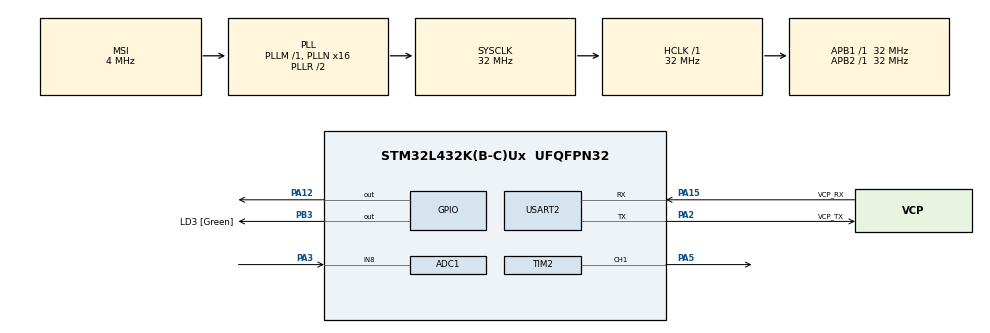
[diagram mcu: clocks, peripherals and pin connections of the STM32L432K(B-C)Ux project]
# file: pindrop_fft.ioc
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ADC1.Channel-0\#ChannelRegularConversion=ADC_CHANNEL_8
ADC1.ContinuousConvMode=DISABLE
ADC1.DMAContinuousRequests=ENABLE
ADC1.ExternalTrigConv=ADC_EXTERNALTRIG_T2_TRGO
ADC1.NbrOfConversionFlag=1
ADC1.OffsetNumber-0\#ChannelRegularConversion=ADC_OFFSET_NONE
ADC1.Rank-0\#ChannelRegularConversion=1
ADC1.SamplingTime-0\#ChannelRegularConversion=ADC_SAMPLETIME_2CYCLES_5
ADC1.master=1
Dma.ADC1.0.Direction=DMA_PERIPH_TO_MEMORY
Dma.ADC1.0.Instance=DMA1_Channel1
Dma.ADC1.0.MemDataAlignment=DMA_MDATAALIGN_HALFWORD
Dma.ADC1.0.MemInc=DMA_MINC_ENABLE
Dma.ADC1.0.Mode=DMA_CIRCULAR
Dma.ADC1.0.PeriphDataAlignment=DMA_PDATAALIGN_HALFWORD
Dma.ADC1.0.PeriphInc=DMA_PINC_DISABLE
Dma.ADC1.0.Priority=DMA_PRIORITY_LOW
Dma.Request0=ADC1
Dma.Request1=USART2_TX
Dma.USART2_TX.1.Direction=DMA_MEMORY_TO_PERIPH
Dma.USART2_TX.1.Instance=DMA1_Channel7
Dma.USART2_TX.1.MemDataAlignment=DMA_MDATAALIGN_BYTE
Dma.USART2_TX.1.MemInc=DMA_MINC_ENABLE
Dma.USART2_TX.1.Mode=DMA_NORMAL
Dma.USART2_TX.1.PeriphDataAlignment=DMA_PDATAALIGN_BYTE
Dma.USART2_TX.1.PeriphInc=DMA_PINC_DISABLE
Dma.USART2_TX.1.Priority=DMA_PRIORITY_LOW
Mcu.Family=STM32L4
Mcu.Name=STM32L432K(B-C)Ux
Mcu.Package=UFQFPN32
NVIC.DMA1_Channel1_IRQn=true\:0\:0\:false\:false\:true\:false\:true\:true
NVIC.DMA1_Channel7_IRQn=true\:0\:0\:false\:false\:true\:false\:true\:true
NVIC.PriorityGroup=NVIC_PRIORITYGROUP_4
PA0.GPIO_Label=MCO [High speed clock in]
PA0.Mode=HSE-External-Clock-Source-for-LittleOrca
PA0.Signal=RCC_CK_IN
PA12.Signal=GPIO_Output
PA13\ (JTMS-SWDIO).GPIO_Label=SWDIO
PA13\ (JTMS-SWDIO).Mode=Serial_Wire
PA13\ (JTMS-SWDIO).Signal=SYS_JTMS-SWDIO
PA14\ (JTCK-SWCLK).GPIO_Label=SWCLK
PA14\ (JTCK-SWCLK).Mode=Serial_Wire
PA14\ (JTCK-SWCLK).Signal=SYS_JTCK-SWCLK
PA15\ (JTDI).GPIO_Label=VCP_RX
PA15\ (JTDI).Mode=Asynchronous
PA15\ (JTDI).Signal=USART2_RX
PA2.GPIO_Label=VCP_TX
PA2.Mode=Asynchronous
PA2.Signal=USART2_TX
PA3.Signal=ADCx_IN8
PA5.Signal=S_TIM2_CH1
PB3\ (JTDO-TRACESWO).GPIO_Label=LD3 [Green]
PB3\ (JTDO-TRACESWO).Signal=GPIO_Output
PC14-OSC32_IN\ (PC14).Mode=LSE-External-Oscillator
PC14-OSC32_IN\ (PC14).Signal=RCC_OSC32_IN
PC15-OSC32_OUT\ (PC15).Mode=LSE-External-Oscillator
PC15-OSC32_OUT\ (PC15).Signal=RCC_OSC32_OUT
ProjectManager.HeapSize=0x200
ProjectManager.StackSize=0x400
ProjectManager.TargetToolchain=STM32CubeIDE
RCC.ADCFreq_Value=32000000
RCC.AHBFreq_Value=32000000
RCC.APB1Freq_Value=32000000
RCC.APB1TimFreq_Value=32000000
RCC.APB2Freq_Value=32000000
RCC.APB2TimFreq_Value=32000000
RCC.CortexFreq_Value=32000000
RCC.HCLKFreq_Value=32000000
RCC.HSE_VALUE=8000000
RCC.HSI16_VALUE=16000000
RCC.HSI48_VALUE=48000000
RCC.HSI_VALUE=16000000
RCC.MSI_VALUE=4000000
RCC.PLLMUL=RCC_PLLMUL_4
RCC.PLLN=16
RCC.PLLSAI1N=16
RCC.SYSCLKFreq_VALUE=32000000
RCC.SYSCLKSource=RCC_SYSCLKSOURCE_PLLCLK
RCC.USBFreq_Value=32000000
RCC.VCOOutputFreq_Value=64000000
SH.ADCx_IN8.0=ADC1_IN8,IN8-Single-Ended
SH.S_TIM2_CH1.0=TIM2_CH1,Output Compare1 CH1
TIM1.Prescaler=31
TIM2.AutoReloadPreload=TIM_AUTORELOAD_PRELOAD_ENABLE
TIM2.Channel-Output\ Compare1\ CH1=TIM_CHANNEL_1
TIM2.OCMode_1=TIM_OCMODE_TOGGLE
TIM2.Period=400-1
TIM2.Prescaler=0
TIM2.TIM_MasterOutputTrigger=TIM_TRGO_UPDATE
TIM2.TIM_MasterSlaveMode=TIM_MASTERSLAVEMODE_ENABLE
USART2.VirtualMode-Asynchronous=VM_ASYNC
VP_TIM1_VS_ClockSourceINT.Mode=Internal
VP_TIM2_VS_ClockSourceINT.Mode=Internal
board=NUCLEO-L432KC

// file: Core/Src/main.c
/* USER CODE BEGIN Header */
/**
  ******************************************************************************
  * @file           : main.c
  * @brief          : Main program body
  ******************************************************************************
  * @attention
  *
  * Copyright (c) 2025 STMicroelectronics.
  * All rights reserved.
  *
  * This software is licensed under terms that can be found in the LICENSE file
  * in the root directory of this software component.
  * If no LICENSE file comes with this software, it is provided AS-IS.
  *
  ******************************************************************************
  */
/* USER CODE END Header */
#include "main.h"

/* USER CODE BEGIN Includes */
#include "arm_math.h"
#include "arm_const_structs.h"
//#include <stdio.h>
/* USER CODE END Includes */

/* USER CODE BEGIN PD */
/* Defines */
#define FFT_SIZE 1024
#define SAMPLE_RATE 80000
#define AUDIO_BUFFER_SIZE (FFT_SIZE)
#define CHANGE_THRESHOLD 1.75// 1.7 for sensitivity, 2.4 for motors/noise (no ROC consideration)
//#define CHANGE_THRESHOLD 0.1
/* USER CODE END PD */

ADC_HandleTypeDef hadc1;
DMA_HandleTypeDef hdma_adc1;

TIM_HandleTypeDef htim1;
TIM_HandleTypeDef htim2;

UART_HandleTypeDef huart2;
DMA_HandleTypeDef hdma_usart2_tx;

/* USER CODE BEGIN PV */
volatile uint16_t adc_buffer[AUDIO_BUFFER_SIZE];
volatile uint8_t buffer_ready = 0;
uint32_t adc_index = 0;

float32_t fft_input[FFT_SIZE];
float32_t fft_output[FFT_SIZE];

float32_t fft_mag_A[FFT_SIZE/2];
float32_t fft_mag_B[FFT_SIZE/2];
float32_t* fft_mag = fft_mag_A;
float32_t* fft_mag_prev = fft_mag_B;

arm_rfft_fast_instance_f32 fft_instance;
/* USER CODE END PV */

void SystemClock_Config(void);
static void MX_GPIO_Init(void);
static void MX_DMA_Init(void);
static void MX_USART2_UART_Init(void);
static void MX_ADC1_Init(void);
static void MX_TIM2_Init(void);
static void MX_TIM1_Init(void);
/* USER CODE BEGIN PFP */
void HAL_ADC_ConvCpltCallback(ADC_HandleTypeDef* hadc);
void process_fft(void);
void transmit_fft_results(void);
/* USER CODE END PFP */

int main(void)
{

  /* MCU Configuration--------------------------------------------------------*/

  /* Reset of all peripherals, Initializes the Flash interface and the Systick. */
  HAL_Init();

  /* Configure the system clock */
  SystemClock_Config();

  /* Initialize all configured peripherals */
  MX_GPIO_Init();
  MX_DMA_Init();
  MX_USART2_UART_Init();
  MX_ADC1_Init();
  MX_TIM2_Init();
  MX_TIM1_Init();
  /* USER CODE BEGIN 2 */
  // Initialize FFT
  arm_rfft_fast_init_f32(&fft_instance, FFT_SIZE);

  // Start ADC with DMA
  HAL_ADC_Start_DMA(&hadc1, (uint32_t*)adc_buffer, AUDIO_BUFFER_SIZE);

  // Start timer for sampling rate and fft timer
  HAL_TIM_Base_Start(&htim1);
  HAL_TIM_Base_Start(&htim2);
  /* USER CODE END 2 */

  /* Infinite loop */
  /* USER CODE BEGIN WHILE */
  while (1)
  {
	  if (buffer_ready) {
	        process_fft();
	        //transmit_fft_results();
	        buffer_ready = 0;
	        adc_index = 0;
	    }
    /* USER CODE END WHILE */

  }
}

void SystemClock_Config(void)
{
  RCC_OscInitTypeDef RCC_OscInitStruct = {0};
  RCC_ClkInitTypeDef RCC_ClkInitStruct = {0};

  /** Configure the main internal regulator output voltage
  */
  if (HAL_PWREx_ControlVoltageScaling(PWR_REGULATOR_VOLTAGE_SCALE1) != HAL_OK)
  {
    Error_Handler();
  }

  /** Configure LSE Drive Capability
  */
  HAL_PWR_EnableBkUpAccess();
  __HAL_RCC_LSEDRIVE_CONFIG(RCC_LSEDRIVE_LOW);

  /** Initializes the RCC Oscillators according to the specified parameters
  * in the RCC_OscInitTypeDef structure.
  */
  RCC_OscInitStruct.OscillatorType = RCC_OSCILLATORTYPE_LSE|RCC_OSCILLATORTYPE_MSI;
  RCC_OscInitStruct.LSEState = RCC_LSE_ON;
  RCC_OscInitStruct.MSIState = RCC_MSI_ON;
  RCC_OscInitStruct.MSICalibrationValue = 0;
  RCC_OscInitStruct.MSIClockRange = RCC_MSIRANGE_6;
  RCC_OscInitStruct.PLL.PLLState = RCC_PLL_ON;
  RCC_OscInitStruct.PLL.PLLSource = RCC_PLLSOURCE_MSI;
  RCC_OscInitStruct.PLL.PLLM = 1;
  RCC_OscInitStruct.PLL.PLLN = 16;
  RCC_OscInitStruct.PLL.PLLP = RCC_PLLP_DIV7;
  RCC_OscInitStruct.PLL.PLLQ = RCC_PLLQ_DIV2;
  RCC_OscInitStruct.PLL.PLLR = RCC_PLLR_DIV2;
  if (HAL_RCC_OscConfig(&RCC_OscInitStruct) != HAL_OK)
  {
    Error_Handler();
  }

  /** Initializes the CPU, AHB and APB buses clocks
  */
  RCC_ClkInitStruct.ClockType = RCC_CLOCKTYPE_HCLK|RCC_CLOCKTYPE_SYSCLK
                              |RCC_CLOCKTYPE_PCLK1|RCC_CLOCKTYPE_PCLK2;
  RCC_ClkInitStruct.SYSCLKSource = RCC_SYSCLKSOURCE_PLLCLK;
  RCC_ClkInitStruct.AHBCLKDivider = RCC_SYSCLK_DIV1;
  RCC_ClkInitStruct.APB1CLKDivider = RCC_HCLK_DIV1;
  RCC_ClkInitStruct.APB2CLKDivider = RCC_HCLK_DIV1;

  if (HAL_RCC_ClockConfig(&RCC_ClkInitStruct, FLASH_LATENCY_1) != HAL_OK)
  {
    Error_Handler();
  }

  /** Enable MSI Auto calibration
  */
  HAL_RCCEx_EnableMSIPLLMode();
}

static void MX_ADC1_Init(void)
{

  ADC_ChannelConfTypeDef sConfig = {0};

  /** Common config
  */
  hadc1.Instance = ADC1;
  hadc1.Init.ClockPrescaler = ADC_CLOCK_ASYNC_DIV1;
  hadc1.Init.Resolution = ADC_RESOLUTION_12B;
  hadc1.Init.DataAlign = ADC_DATAALIGN_RIGHT;
  hadc1.Init.ScanConvMode = ADC_SCAN_DISABLE;
  hadc1.Init.EOCSelection = ADC_EOC_SINGLE_CONV;
  hadc1.Init.LowPowerAutoWait = DISABLE;
  hadc1.Init.ContinuousConvMode = DISABLE;
  hadc1.Init.NbrOfConversion = 1;
  hadc1.Init.DiscontinuousConvMode = DISABLE;
  hadc1.Init.ExternalTrigConv = ADC_EXTERNALTRIG_T2_TRGO;
  hadc1.Init.ExternalTrigConvEdge = ADC_EXTERNALTRIGCONVEDGE_RISING;
  hadc1.Init.DMAContinuousRequests = ENABLE;
  hadc1.Init.Overrun = ADC_OVR_DATA_PRESERVED;
  hadc1.Init.OversamplingMode = DISABLE;
  if (HAL_ADC_Init(&hadc1) != HAL_OK)
  {
    Error_Handler();
  }

  /** Configure Regular Channel
  */
  sConfig.Channel = ADC_CHANNEL_8;
  sConfig.Rank = ADC_REGULAR_RANK_1;
  sConfig.SamplingTime = ADC_SAMPLETIME_2CYCLES_5;
  sConfig.SingleDiff = ADC_SINGLE_ENDED;
  sConfig.OffsetNumber = ADC_OFFSET_NONE;
  sConfig.Offset = 0;
  if (HAL_ADC_ConfigChannel(&hadc1, &sConfig) != HAL_OK)
  {
    Error_Handler();
  }

}

static void MX_TIM1_Init(void)
{

  TIM_ClockConfigTypeDef sClockSourceConfig = {0};
  TIM_MasterConfigTypeDef sMasterConfig = {0};

  htim1.Instance = TIM1;
  htim1.Init.Prescaler = 31;
  htim1.Init.CounterMode = TIM_COUNTERMODE_UP;
  htim1.Init.Period = 65535;
  htim1.Init.ClockDivision = TIM_CLOCKDIVISION_DIV1;
  htim1.Init.RepetitionCounter = 0;
  htim1.Init.AutoReloadPreload = TIM_AUTORELOAD_PRELOAD_DISABLE;
  if (HAL_TIM_Base_Init(&htim1) != HAL_OK)
  {
    Error_Handler();
  }
  sClockSourceConfig.ClockSource = TIM_CLOCKSOURCE_INTERNAL;
  if (HAL_TIM_ConfigClockSource(&htim1, &sClockSourceConfig) != HAL_OK)
  {
    Error_Handler();
  }
  sMasterConfig.MasterOutputTrigger = TIM_TRGO_RESET;
  sMasterConfig.MasterOutputTrigger2 = TIM_TRGO2_RESET;
  sMasterConfig.MasterSlaveMode = TIM_MASTERSLAVEMODE_DISABLE;
  if (HAL_TIMEx_MasterConfigSynchronization(&htim1, &sMasterConfig) != HAL_OK)
  {
    Error_Handler();
  }

}

static void MX_TIM2_Init(void)
{

  TIM_ClockConfigTypeDef sClockSourceConfig = {0};
  TIM_MasterConfigTypeDef sMasterConfig = {0};
  TIM_OC_InitTypeDef sConfigOC = {0};

  htim2.Instance = TIM2;
  htim2.Init.Prescaler = 0;
  htim2.Init.CounterMode = TIM_COUNTERMODE_UP;
  htim2.Init.Period = 400-1;
  htim2.Init.ClockDivision = TIM_CLOCKDIVISION_DIV1;
  htim2.Init.AutoReloadPreload = TIM_AUTORELOAD_PRELOAD_ENABLE;
  if (HAL_TIM_Base_Init(&htim2) != HAL_OK)
  {
    Error_Handler();
  }
  sClockSourceConfig.ClockSource = TIM_CLOCKSOURCE_INTERNAL;
  if (HAL_TIM_ConfigClockSource(&htim2, &sClockSourceConfig) != HAL_OK)
  {
    Error_Handler();
  }
  if (HAL_TIM_OC_Init(&htim2) != HAL_OK)
  {
    Error_Handler();
  }
  sMasterConfig.MasterOutputTrigger = TIM_TRGO_UPDATE;
  sMasterConfig.MasterSlaveMode = TIM_MASTERSLAVEMODE_ENABLE;
  if (HAL_TIMEx_MasterConfigSynchronization(&htim2, &sMasterConfig) != HAL_OK)
  {
    Error_Handler();
  }
  sConfigOC.OCMode = TIM_OCMODE_TOGGLE;
  sConfigOC.Pulse = 0;
  sConfigOC.OCPolarity = TIM_OCPOLARITY_HIGH;
  sConfigOC.OCFastMode = TIM_OCFAST_DISABLE;
  if (HAL_TIM_OC_ConfigChannel(&htim2, &sConfigOC, TIM_CHANNEL_1) != HAL_OK)
  {
    Error_Handler();
  }
  HAL_TIM_MspPostInit(&htim2);

}

static void MX_USART2_UART_Init(void)
{

  huart2.Instance = USART2;
  huart2.Init.BaudRate = 115200;
  huart2.Init.WordLength = UART_WORDLENGTH_8B;
  huart2.Init.StopBits = UART_STOPBITS_1;
  huart2.Init.Parity = UART_PARITY_NONE;
  huart2.Init.Mode = UART_MODE_TX_RX;
  huart2.Init.HwFlowCtl = UART_HWCONTROL_NONE;
  huart2.Init.OverSampling = UART_OVERSAMPLING_16;
  huart2.Init.OneBitSampling = UART_ONE_BIT_SAMPLE_DISABLE;
  huart2.AdvancedInit.AdvFeatureInit = UART_ADVFEATURE_NO_INIT;
  if (HAL_UART_Init(&huart2) != HAL_OK)
  {
    Error_Handler();
  }

}

static void MX_DMA_Init(void)
{

  /* DMA controller clock enable */
  __HAL_RCC_DMA1_CLK_ENABLE();

  /* DMA interrupt init */
  /* DMA1_Channel1_IRQn interrupt configuration */
  HAL_NVIC_SetPriority(DMA1_Channel1_IRQn, 0, 0);
  HAL_NVIC_EnableIRQ(DMA1_Channel1_IRQn);
  /* DMA1_Channel7_IRQn interrupt configuration */
  HAL_NVIC_SetPriority(DMA1_Channel7_IRQn, 0, 0);
  HAL_NVIC_EnableIRQ(DMA1_Channel7_IRQn);

}

static void MX_GPIO_Init(void)
{
  GPIO_InitTypeDef GPIO_InitStruct = {0};

  /* GPIO Ports Clock Enable */
  __HAL_RCC_GPIOC_CLK_ENABLE();
  __HAL_RCC_GPIOA_CLK_ENABLE();
  __HAL_RCC_GPIOB_CLK_ENABLE();

  /*Configure GPIO pin Output Level */
  HAL_GPIO_WritePin(GPIOA, GPIO_PIN_12, GPIO_PIN_RESET);

  /*Configure GPIO pin Output Level */
  HAL_GPIO_WritePin(LD3_GPIO_Port, LD3_Pin, GPIO_PIN_RESET);

  /*Configure GPIO pin : PA12 */
  GPIO_InitStruct.Pin = GPIO_PIN_12;
  GPIO_InitStruct.Mode = GPIO_MODE_OUTPUT_PP;
  GPIO_InitStruct.Pull = GPIO_NOPULL;
  GPIO_InitStruct.Speed = GPIO_SPEED_FREQ_LOW;
  HAL_GPIO_Init(GPIOA, &GPIO_InitStruct);

  /*Configure GPIO pin : LD3_Pin */
  GPIO_InitStruct.Pin = LD3_Pin;
  GPIO_InitStruct.Mode = GPIO_MODE_OUTPUT_PP;
  GPIO_InitStruct.Pull = GPIO_NOPULL;
  GPIO_InitStruct.Speed = GPIO_SPEED_FREQ_LOW;
  HAL_GPIO_Init(LD3_GPIO_Port, &GPIO_InitStruct);

}

/* USER CODE BEGIN 4 */
/* ADC conversion complete callback */
void HAL_ADC_ConvCpltCallback(ADC_HandleTypeDef* hadc) {
  buffer_ready = 1;
}

// Code to swap output buffers
void swap_buffers() {
    float32_t* temp = fft_mag_prev;
    fft_mag_prev = fft_mag;
    fft_mag = temp;
}

/* Process FFT */
void process_fft(void) {
  // Convert ADC samples to float32 (-1 to 1)
  for (int i = 0; i < FFT_SIZE; i++) {
    fft_input[i] = (float32_t)(adc_buffer[i] - 2048) / 2048.0f;
  }
  // Calculate and remove mean
  float32_t mean;
  arm_mean_f32(fft_input, FFT_SIZE, &mean);
  arm_offset_f32(fft_input, -mean, fft_input, FFT_SIZE);

  // Get time since last fft
  uint32_t time = __HAL_TIM_GET_COUNTER(&htim1);
  __HAL_TIM_SET_COUNTER(&htim1, 0);
  // Perform FFT
  arm_rfft_fast_f32(&fft_instance, fft_input, fft_output, 0);

  // Swap pointers to magnitudes to find difference between current and previous fft
  swap_buffers();
  float32_t fft_mag_diffsqr_sum = 0;
  // Calculate magnitude and find difference from previous
  for (int i = 0; i < FFT_SIZE/2; i++) {
    fft_mag[i] = sqrtf(fft_output[2*i]*fft_output[2*i] +
                       fft_output[2*i+1]*fft_output[2*i+1]);
    fft_mag_diffsqr_sum += (fft_mag[i] - fft_mag_prev[i])*(fft_mag[i] - fft_mag_prev[i]);
  }

  float32_t fft_change = sqrtf(fft_mag_diffsqr_sum);

  if (fft_change > CHANGE_THRESHOLD) {
	  // Turn ON the LED
	  HAL_GPIO_WritePin(GPIOA, GPIO_PIN_12, GPIO_PIN_SET);
	  HAL_Delay(1000);
  }
//  if (time > 25000) {
//	  HAL_GPIO_WritePin(GPIOA, GPIO_PIN_12, GPIO_PIN_SET);
//	  HAL_Delay(1000);
//	  __HAL_TIM_SET_COUNTER(&htim1, 0);
//  }
  else {
	  HAL_GPIO_WritePin(GPIOA, GPIO_PIN_12, GPIO_PIN_RESET);
  }
}

/* Transmit FFT results via UART */
void transmit_fft_results(void) {
  char uart_buf[64];
  int len;

  // Send header
  len = sprintf(uart_buf, "FFT_DATA_START,%d\r\n", FFT_SIZE/2);
  HAL_UART_Transmit(&huart2, (uint8_t*)uart_buf, len, HAL_MAX_DELAY);

  // Send FFT magnitude points
  for (int i = 0; i < FFT_SIZE/2; i++) {
    len = sprintf(uart_buf, "%d,%.4f\r\n", i, fft_mag[i]);
    HAL_UART_Transmit(&huart2, (uint8_t*)uart_buf, len, HAL_MAX_DELAY);
  }

  // Send footer
  len = sprintf(uart_buf, "FFT_DATA_END\r\n");
  HAL_UART_Transmit(&huart2, (uint8_t*)uart_buf, len, HAL_MAX_DELAY);
}

/* Transmit FFT results via UART */
//void transmit_fft_results(void) {
//  #define UART_BUF_SIZE 128  // Increased buffer size
//  char uart_buf[UART_BUF_SIZE];
//  int len;
//  HAL_StatusTypeDef status;
//  const int fft_points = FFT_SIZE/2;
//
//  // Send header with fixed format
//  len = snprintf(uart_buf, UART_BUF_SIZE, "FFT_DATA_START,%d\r\n", fft_points);
//  status = HAL_UART_Transmit(&huart2, (uint8_t*)uart_buf, len, HAL_MAX_DELAY);
//  if (status != HAL_OK) {
//    // Handle error (you could add error recovery here)
//    return;
//  }
//
//  // Send FFT magnitude points with checks
//  int points_sent = 0;
//  for (int i = 0; i < fft_points; i++) {
//    len = snprintf(uart_buf, UART_BUF_SIZE, "%d,%.4f\r\n", i, fft_mag[i]);
//    if (len >= UART_BUF_SIZE) {
//      // Handle buffer overflow
//      len = snprintf(uart_buf, UART_BUF_SIZE, "%d,OVF\r\n", i);
//    }
//
//    status = HAL_UART_Transmit(&huart2, (uint8_t*)uart_buf, len, HAL_MAX_DELAY);
//    if (status != HAL_OK) {
//      // Handle error
//      break;
//    }
//    points_sent++;
//  }
//
//  // Verify all points were sent
//  if (points_sent != fft_points) {
//    len = snprintf(uart_buf, UART_BUF_SIZE, "FFT_ERROR,expected %d, sent %d\r\n",
//                  fft_points, points_sent);
//    HAL_UART_Transmit(&huart2, (uint8_t*)uart_buf, len, HAL_MAX_DELAY);
//  }
//
//  // Send footer
//  len = snprintf(uart_buf, UART_BUF_SIZE, "FFT_DATA_END,%d\r\n", points_sent);
//  HAL_UART_Transmit(&huart2, (uint8_t*)uart_buf, len, HAL_MAX_DELAY);
//}
/* USER CODE END 4 */

void Error_Handler(void)
{
  __disable_irq();
  while (1)
  {
  }
}
